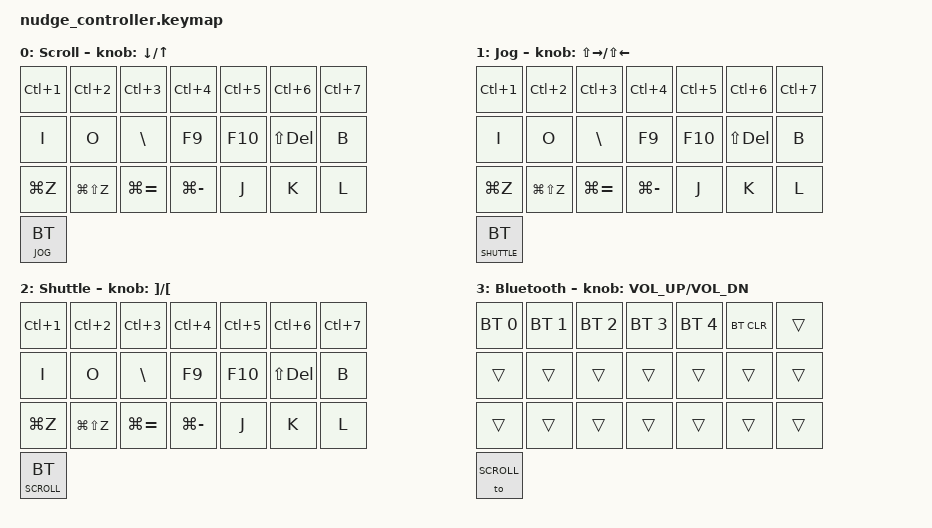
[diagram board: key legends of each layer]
/*
 * ─────────────────────────────────────────────────────────────────────────────
 *  Nudge Controller — ZMK keymap
 *
 *  21 keys (3 rows × 7 columns) + 1 rotary encoder with a push-switch.
 *  Defaults target DaVinci Resolve's Cut/Edit page; the binding vocabulary is
 *  kept identical to the iPad prototype's KEY_MAP so the prototype, firmware,
 *  and companion app all describe the same actions.
 *
 *  KEY GRID (same on the three encoder-mode layers):
 *    Row 0 :  CAM1   CAM2   CAM3   CAM4   CAM5   CAM6   CAM7      (Ctrl+1..7, multicam)
 *    Row 1 :  MARKIN MARKOUT ADDEDIT INSERT OWRITE RIPDEL BLADE
 *    Row 2 :  UNDO   REDO   ZOOM+  ZOOM−  REV    STOP   PLAY
 *    Encoder push : tap = cycle encoder mode · hold = Bluetooth layer
 *
 *  ENCODER MODES (selected by tapping the encoder, cycles 0→1→2→0):
 *    Layer 0 SCROLL  : rotate = ↑ / ↓            (timeline scroll)
 *    Layer 1 JOG     : rotate = Shift+→ / Shift+← (frame trim)
 *    Layer 2 SHUTTLE : rotate = ] / [            (speed ramp)
 *    Layer 3 BT      : Bluetooth profile select (held from any mode layer)
 * ─────────────────────────────────────────────────────────────────────────────
 */

#include <behaviors.dtsi>
#include <dt-bindings/zmk/keys.h>
#include <dt-bindings/zmk/bt.h>

/* Layer indices — keep in sync with the layer order below */
#define SCROLL  0
#define JOG     1
#define SHUTTLE 2
#define BT      3

/ {
    behaviors {
        /*
         * Encoder push-switch behaviour:
         *   tap  → &to <next mode layer>   (cycle SCROLL → JOG → SHUTTLE → …)
         *   hold → &mo <BT layer>          (momentary Bluetooth profile layer)
         * Invoked per-layer as `&enc_btn <next-layer> BT`.
         */
        enc_btn: encoder_button_hold_tap {
            compatible = "zmk,behavior-hold-tap";
            #binding-cells = <2>;
            flavor = "tap-preferred";
            tapping-term-ms = <220>;
            bindings = <&to>, <&mo>;
        };
    };

    keymap {
        compatible = "zmk,keymap";

        /* ── Layer 0 · SCROLL ──────────────────────────────────────────────── */
        scroll_layer {
            display-name = "Scroll";
            bindings = <
                &kp LC(N1) &kp LC(N2) &kp LC(N3) &kp LC(N4) &kp LC(N5) &kp LC(N6) &kp LC(N7)
                &kp I      &kp O      &kp BSLH   &kp F9     &kp F10    &kp LS(DEL) &kp B
                &kp LG(Z)  &kp LG(LS(Z)) &kp LG(EQUAL) &kp LG(MINUS) &kp J  &kp K  &kp L
                &enc_btn JOG BT
            >;
            /* clockwise → Down arrow, counter-clockwise → Up arrow */
            sensor-bindings = <&inc_dec_kp DOWN UP>;
        };

        /* ── Layer 1 · JOG ─────────────────────────────────────────────────── */
        jog_layer {
            display-name = "Jog";
            bindings = <
                &kp LC(N1) &kp LC(N2) &kp LC(N3) &kp LC(N4) &kp LC(N5) &kp LC(N6) &kp LC(N7)
                &kp I      &kp O      &kp BSLH   &kp F9     &kp F10    &kp LS(DEL) &kp B
                &kp LG(Z)  &kp LG(LS(Z)) &kp LG(EQUAL) &kp LG(MINUS) &kp J  &kp K  &kp L
                &enc_btn SHUTTLE BT
            >;
            /* clockwise → Shift+Right (trim +1), counter-clockwise → Shift+Left */
            sensor-bindings = <&inc_dec_kp LS(RIGHT) LS(LEFT)>;
        };

        /* ── Layer 2 · SHUTTLE ─────────────────────────────────────────────── */
        shuttle_layer {
            display-name = "Shuttle";
            bindings = <
                &kp LC(N1) &kp LC(N2) &kp LC(N3) &kp LC(N4) &kp LC(N5) &kp LC(N6) &kp LC(N7)
                &kp I      &kp O      &kp BSLH   &kp F9     &kp F10    &kp LS(DEL) &kp B
                &kp LG(Z)  &kp LG(LS(Z)) &kp LG(EQUAL) &kp LG(MINUS) &kp J  &kp K  &kp L
                &enc_btn SCROLL BT
            >;
            /* clockwise → ] (speed up), counter-clockwise → [ (speed down) */
            sensor-bindings = <&inc_dec_kp RBKT LBKT>;
        };

        /* ── Layer 3 · BT (Bluetooth profiles) ─────────────────────────────── */
        /* Reached by HOLDING the encoder push. Top row picks a profile; the
           encoder push here jumps straight back to SCROLL. */
        bt_layer {
            display-name = "Bluetooth";
            bindings = <
                &bt BT_SEL 0 &bt BT_SEL 1 &bt BT_SEL 2 &bt BT_SEL 3 &bt BT_SEL 4 &bt BT_CLR &trans
                &trans       &trans       &trans       &trans       &trans       &trans     &trans
                &trans       &trans       &trans       &trans       &trans       &trans     &trans
                &to SCROLL
            >;
            /* encoder on the BT layer cycles host profiles back/forward */
            sensor-bindings = <&inc_dec_kp C_VOL_UP C_VOL_DN>;
        };
    };
};
